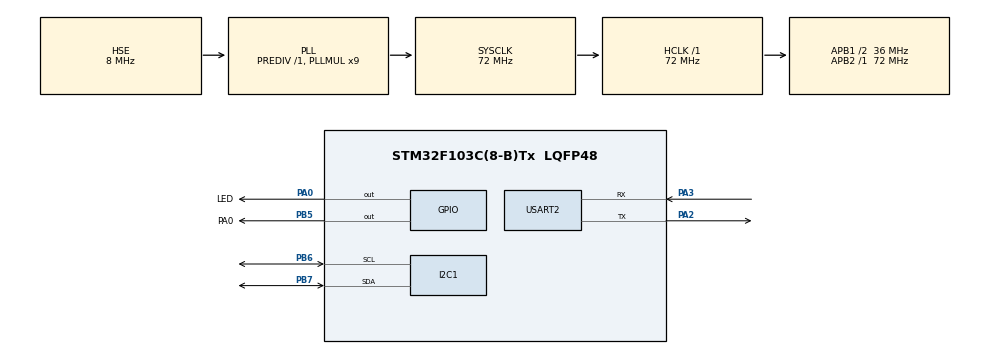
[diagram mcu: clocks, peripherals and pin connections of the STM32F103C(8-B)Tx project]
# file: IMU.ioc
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I2C1.I2C_Mode=I2C_Fast
Mcu.Family=STM32F1
Mcu.Name=STM32F103C(8-B)Tx
Mcu.Package=LQFP48
NVIC.PriorityGroup=NVIC_PRIORITYGROUP_4
PA0-WKUP.GPIO_Label=LED
PA0-WKUP.Signal=GPIO_Output
PA13.Mode=Serial_Wire
PA13.Signal=SYS_JTMS-SWDIO
PA14.Mode=Serial_Wire
PA14.Signal=SYS_JTCK-SWCLK
PA2.Mode=Asynchronous
PA2.Signal=USART2_TX
PA3.Mode=Asynchronous
PA3.Signal=USART2_RX
PB5.GPIO_Label=PA0
PB5.Signal=GPIO_Output
PB6.Mode=I2C
PB6.Signal=I2C1_SCL
PB7.Mode=I2C
PB7.Signal=I2C1_SDA
PD0-OSC_IN.Mode=HSE-External-Oscillator
PD0-OSC_IN.Signal=RCC_OSC_IN
PD1-OSC_OUT.Mode=HSE-External-Oscillator
PD1-OSC_OUT.Signal=RCC_OSC_OUT
ProjectManager.HeapSize=0x200
ProjectManager.StackSize=0x400
ProjectManager.TargetToolchain=STM32CubeIDE
RCC.AHBFreq_Value=72000000
RCC.APB1CLKDivider=RCC_HCLK_DIV2
RCC.APB1Freq_Value=36000000
RCC.APB1TimFreq_Value=72000000
RCC.APB2Freq_Value=72000000
RCC.APB2TimFreq_Value=72000000
RCC.HCLKFreq_Value=72000000
RCC.PLLMUL=RCC_PLL_MUL9
RCC.PLLSourceVirtual=RCC_PLLSOURCE_HSE
RCC.SYSCLKFreq_VALUE=72000000
RCC.SYSCLKSource=RCC_SYSCLKSOURCE_PLLCLK
RCC.USBFreq_Value=72000000
USART2.VirtualMode=VM_ASYNC
board=custom

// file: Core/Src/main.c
/* USER CODE BEGIN Header */
/**
 ******************************************************************************
 * @file           : main.c
 * @brief          : Main program body
 ******************************************************************************
 * @attention
 *
 * Copyright (c) 2023 STMicroelectronics.
 * All rights reserved.
 *
 * This software is licensed under terms that can be found in the LICENSE file
 * in the root directory of this software component.
 * If no LICENSE file comes with this software, it is provided AS-IS.
 *
 ******************************************************************************
 */
/* USER CODE END Header */
#include "main.h"

/* USER CODE BEGIN Includes */
#include "inv_mpu.h"
#include "mpu6050.h"
#include "stdio.h"
/* USER CODE BEGIN 1 */

/* USER CODE END 1 */

/* USER CODE END Includes */

I2C_HandleTypeDef hi2c1;

UART_HandleTypeDef huart2;

/* USER CODE BEGIN PV */
MPU_Angle angle;
/* USER CODE END PV */

void SystemClock_Config(void);
static void MX_GPIO_Init(void);
static void MX_I2C1_Init(void);
static void MX_USART2_UART_Init(void);

/* USER CODE BEGIN 0 */

#ifdef __GNUC__
/* With GCC/RAISONANCE, small printf (option LD Linker->Libraries->Small printf
   set to 'Yes') calls __io_putchar() */
#define PUTCHAR_PROTOTYPE int __io_putchar(int ch)
#else
#define PUTCHAR_PROTOTYPE int fputc(int ch, FILE *f)
#endif /* __GNUC__ */

PUTCHAR_PROTOTYPE
{
    HAL_UART_Transmit(&huart2, (uint8_t *)&ch, 1, 0xFFFF);
    return ch;
}
/* USER CODE END 0 */

int main(void)
{

    /* MCU Configuration--------------------------------------------------------*/

    /* Reset of all peripherals, Initializes the Flash interface and the Systick. */
    HAL_Init();

    /* Configure the system clock */
    SystemClock_Config();

    /* Initialize all configured peripherals */
    MX_GPIO_Init();
    MX_I2C1_Init();
    MX_USART2_UART_Init();
    /* USER CODE BEGIN 2 */
    int i = mpu_dmp_init();
    HAL_UART_Transmit(&huart2, (uint8_t *)&i, 4, 1);
    /* USER CODE END 2 */

    /* Infinite loop */
    /* USER CODE BEGIN WHILE */
    while (1) {
        mpu_dmp_get_data(&angle.pitch, &angle.roll, &angle.yaw);
        // printf("%f", angle.pitch);
        HAL_Delay(100);
        /* USER CODE END WHILE */

    }
}

void SystemClock_Config(void)
{
    RCC_OscInitTypeDef RCC_OscInitStruct = {0};
    RCC_ClkInitTypeDef RCC_ClkInitStruct = {0};

    /** Initializes the RCC Oscillators according to the specified parameters
     * in the RCC_OscInitTypeDef structure.
     */
    RCC_OscInitStruct.OscillatorType = RCC_OSCILLATORTYPE_HSE;
    RCC_OscInitStruct.HSEState       = RCC_HSE_ON;
    RCC_OscInitStruct.HSEPredivValue = RCC_HSE_PREDIV_DIV1;
    RCC_OscInitStruct.HSIState       = RCC_HSI_ON;
    RCC_OscInitStruct.PLL.PLLState   = RCC_PLL_ON;
    RCC_OscInitStruct.PLL.PLLSource  = RCC_PLLSOURCE_HSE;
    RCC_OscInitStruct.PLL.PLLMUL     = RCC_PLL_MUL9;
    if (HAL_RCC_OscConfig(&RCC_OscInitStruct) != HAL_OK) {
        Error_Handler();
    }

    /** Initializes the CPU, AHB and APB buses clocks
     */
    RCC_ClkInitStruct.ClockType      = RCC_CLOCKTYPE_HCLK | RCC_CLOCKTYPE_SYSCLK | RCC_CLOCKTYPE_PCLK1 | RCC_CLOCKTYPE_PCLK2;
    RCC_ClkInitStruct.SYSCLKSource   = RCC_SYSCLKSOURCE_PLLCLK;
    RCC_ClkInitStruct.AHBCLKDivider  = RCC_SYSCLK_DIV1;
    RCC_ClkInitStruct.APB1CLKDivider = RCC_HCLK_DIV2;
    RCC_ClkInitStruct.APB2CLKDivider = RCC_HCLK_DIV1;

    if (HAL_RCC_ClockConfig(&RCC_ClkInitStruct, FLASH_LATENCY_2) != HAL_OK) {
        Error_Handler();
    }
}

static void MX_I2C1_Init(void)
{

    hi2c1.Instance             = I2C1;
    hi2c1.Init.ClockSpeed      = 400000;
    hi2c1.Init.DutyCycle       = I2C_DUTYCYCLE_2;
    hi2c1.Init.OwnAddress1     = 0;
    hi2c1.Init.AddressingMode  = I2C_ADDRESSINGMODE_7BIT;
    hi2c1.Init.DualAddressMode = I2C_DUALADDRESS_DISABLE;
    hi2c1.Init.OwnAddress2     = 0;
    hi2c1.Init.GeneralCallMode = I2C_GENERALCALL_DISABLE;
    hi2c1.Init.NoStretchMode   = I2C_NOSTRETCH_DISABLE;
    if (HAL_I2C_Init(&hi2c1) != HAL_OK) {
        Error_Handler();
    }
}

static void MX_USART2_UART_Init(void)
{

    huart2.Instance          = USART2;
    huart2.Init.BaudRate     = 115200;
    huart2.Init.WordLength   = UART_WORDLENGTH_8B;
    huart2.Init.StopBits     = UART_STOPBITS_1;
    huart2.Init.Parity       = UART_PARITY_NONE;
    huart2.Init.Mode         = UART_MODE_TX_RX;
    huart2.Init.HwFlowCtl    = UART_HWCONTROL_NONE;
    huart2.Init.OverSampling = UART_OVERSAMPLING_16;
    if (HAL_UART_Init(&huart2) != HAL_OK) {
        Error_Handler();
    }
}

static void MX_GPIO_Init(void)
{
    GPIO_InitTypeDef GPIO_InitStruct = {0};

    /* GPIO Ports Clock Enable */
    __HAL_RCC_GPIOD_CLK_ENABLE();
    __HAL_RCC_GPIOA_CLK_ENABLE();
    __HAL_RCC_GPIOB_CLK_ENABLE();

    /*Configure GPIO pin Output Level */
    HAL_GPIO_WritePin(LED_GPIO_Port, LED_Pin, GPIO_PIN_RESET);

    /*Configure GPIO pin Output Level */
    HAL_GPIO_WritePin(PA0_GPIO_Port, PA0_Pin, GPIO_PIN_RESET);

    /*Configure GPIO pin : LED_Pin */
    GPIO_InitStruct.Pin   = LED_Pin;
    GPIO_InitStruct.Mode  = GPIO_MODE_OUTPUT_PP;
    GPIO_InitStruct.Pull  = GPIO_NOPULL;
    GPIO_InitStruct.Speed = GPIO_SPEED_FREQ_LOW;
    HAL_GPIO_Init(LED_GPIO_Port, &GPIO_InitStruct);

    /*Configure GPIO pin : PA0_Pin */
    GPIO_InitStruct.Pin   = PA0_Pin;
    GPIO_InitStruct.Mode  = GPIO_MODE_OUTPUT_PP;
    GPIO_InitStruct.Pull  = GPIO_NOPULL;
    GPIO_InitStruct.Speed = GPIO_SPEED_FREQ_LOW;
    HAL_GPIO_Init(PA0_GPIO_Port, &GPIO_InitStruct);

}

void Error_Handler(void)
{
    __disable_irq();
    while (1) {
    }
}
